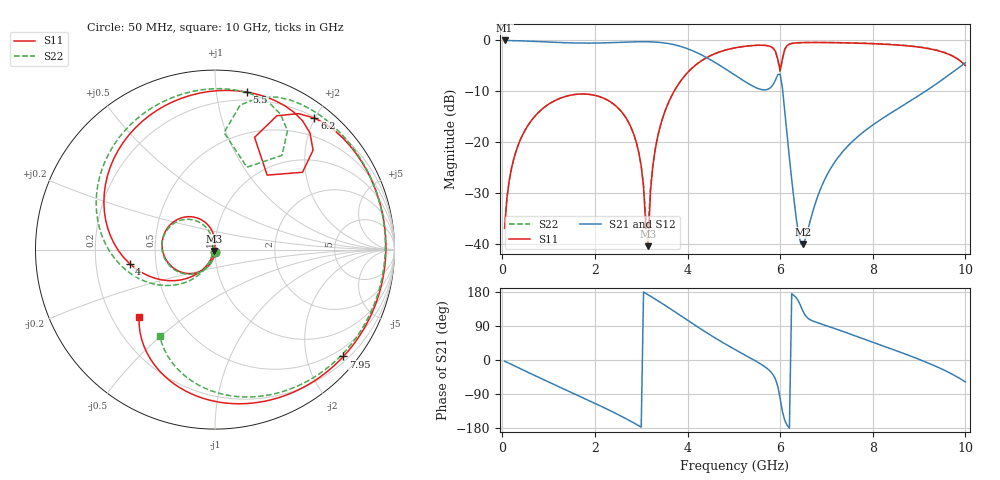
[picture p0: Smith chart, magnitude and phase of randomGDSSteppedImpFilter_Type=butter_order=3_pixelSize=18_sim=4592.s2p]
! freq	dB(S11)	phase(S11)	dB(S12)	phase(S12)
!  dB(S21)	phase(S21)	dB(S22)	phase(S22)
!S-par simulation data
#  GHz  S  DB  R 50
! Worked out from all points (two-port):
!   200 points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, 50 MHz to 10 GHz, reference 50 ohm
!   highest |S21| = -0.01 dB at 50 MHz (marker M1); lowest = -40.1 dB at 6.5 GHz (marker M2)
!   |S21| within 3 dB of the highest: start of sweep to 4.335 GHz
!   lowest |S11| = -40.5 dB at 3.15 GHz (marker M3), VSWR 1.02, Z = 49.5 - j0.785 ohm
!   |S11| at or under -10 dB: start of sweep to 3.711 GHz
!   |S22| runs from -36.9 to -0.4 dB; largest |S21 - S12| = 0
!   S11 on the Smith chart (normalised r, x): 50 MHz: 1.00, -0.03; 4 GHz: 0.35, -0.07; 5.5 GHz: 0.14, +1.21; 6.2 GHz: 0.21, +1.99; 7.95 GHz: 0.31, -2.74; 10 GHz: 0.31, -0.35
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0.05  -36.93 -92.3  -0.01 -3.0  -0.01 -3.0  -36.93 -92.3
0.2  -25.10 -102.1  -0.03 -11.8  -0.03 -11.8  -25.10 -101.8
0.5  -17.52 -120.3  -0.12 -29.4  -0.12 -29.4  -17.52 -119.4
1.75  -10.53 167.8  -0.53 -100.0  -0.53 -100.0  -10.53 171.2
2.8  -17.54 103.9  -0.29 -163.4  -0.29 -163.4  -17.54 112.0
3  -24.77 91.5  -0.26 -177.1  -0.26 -177.1  -24.70 104.6
3.15  -40.46 -123.3  -0.26 172.1  -0.26 172.1  -36.85 -146.1
3.25  -24.75 -112.4  -0.29 164.7  -0.29 164.7  -24.53 -114.3
3.4  -17.25 -122.5  -0.39 153.2  -0.39 153.2  -17.18 -119.4
4  -6.33 -170.7  -1.63 104.9  -1.63 104.9  -6.32 -163.3
4.5  -2.98 149.3  -3.83 65.4  -3.83 65.4  -2.96 158.7
5.05  -1.42 109.2  -6.98 25.9  -6.98 25.9  -1.41 120.5
5.5  -0.96 78.5  -9.38 -4.8  -9.38 -4.8  -0.95 91.2
5.9  -2.18 45.4  -7.77 -51.0  -7.77 -51.0  -2.20 58.6
6  -5.91 55.0  -6.63 -101.7  -6.63 -101.7  -6.15 68.8
6.2  -0.74 52.9  -23.13 -179.8  -23.13 -179.8  -0.74 67.8
6.5  -0.42 31.1  -40.08 127.0  -40.08 127.0  -0.42 46.3
6.7  -0.40 19.7  -33.81 103.2  -33.81 103.2  -0.39 35.1
7.95  -0.62 -39.7  -16.96 49.2  -16.96 49.2  -0.59 -23.8
8.35  -0.80 -57.0  -14.51 31.5  -14.51 31.5  -0.76 -41.2
9.25  -1.69 -97.0  -9.31 -10.7  -9.31 -10.7  -1.64 -81.4
10  -4.93 -138.3  -4.41 -57.8  -4.41 -57.8  -4.87 -122.7
